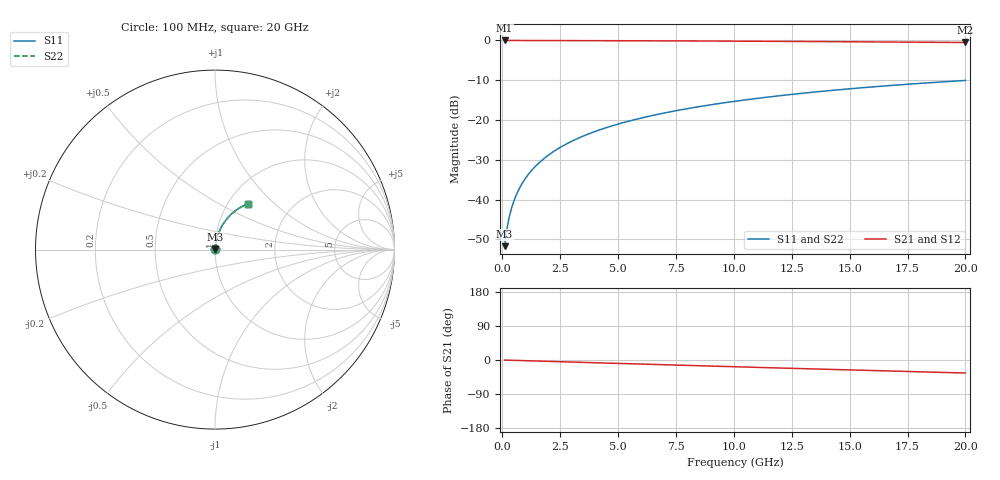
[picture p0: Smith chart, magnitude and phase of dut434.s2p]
! Touchstone file exported from HFSS 2026.1.0
!  File:  C:/ffzhzh/LocalFiles/Ansys_Project_Files/temp_train_TMRDL_434_1783005507_51716.aedt
!  Generated:  11:19:46 PM Jul  2, 2026
!  Design:  TMRDL
!  Project:  temp_train_TMRDL_434_1783005507_51716
! Variables:
!  h_bsmrdl = 2um
!  h_ox = 20um
!  h_rdl = 5um
!  h_sub = 80um
!  h_tmrdl = 4.6um
!  h_tsv = 80um
!  h_via = 3um
!  l_bsmrdl = 300um
!  l_sub = 887.36um
!  l_tmrdl = 487.36um
!  m_sub = 200um
!  pitch = 53.96um
!  r_tsv = 6um
!  s_tmrdl = 10um
!  w_bsmrdl = 18um
!  w_sub = 500um
!  w_tmrdl = 25.26um
!  x_tsv_center1 = 499.99um
!  x_tsv_center2 = 817.99um
!  x_tsv_center3 = 1330.61um
!  x_tsv_center4 = 1648.61um
!  x_tsv_center5 = 2161.23um
!  x_tsv_center6 = 2479.23um
# GHz S MA R 50.000000
! Terminal data exported
! Port[1] = TM_RDL1_1_T1
! Port[2] = TM_RDL1_1_T2
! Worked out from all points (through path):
!   200 points, 100 MHz to 20 GHz, reference 50 ohm
!   highest |S21| = -0.01 dB at 100 MHz (marker M1); lowest = -0.5 dB at 20 GHz (marker M2)
!   group delay of S21, straight-line fit = 4.77 ps
!   lowest |S11| = -51.7 dB at 100 MHz (marker M3), VSWR 1.01, Z = 50.2 + j0.199 ohm
!   |S11| at or under -10 dB: start of sweep to end of sweep
!   |S22| runs from -51.7 to -10.1 dB; largest |S21 - S12| = 4.3e-15
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0.1  0.0026 49.6  0.9983 -0.2  0.9983 -0.2  0.0026 49.6
! Gamma 0 0 0 0
! Port Impedance 50 0 50 0
0.2  0.004297 65.0  0.9982 -0.4  0.9982 -0.4  0.004297 65.0
0.3  0.006067 71.1  0.9981 -0.6  0.9981 -0.6  0.006067 71.1
0.4  0.007835 74.4  0.998 -0.7  0.998 -0.7  0.007835 74.4
0.5  0.009601 76.6  0.9979 -0.9  0.9979 -0.9  0.009601 76.6
0.7  0.01314 79.2  0.9978 -1.3  0.9978 -1.3  0.01314 79.2
0.8  0.01492 80.0  0.9978 -1.5  0.9978 -1.5  0.01492 80.0
1  0.01849 81.0  0.9976 -1.8  0.9976 -1.8  0.01849 81.0
1.2  0.02207 81.7  0.9975 -2.2  0.9975 -2.2  0.02207 81.7
1.4  0.02565 82.0  0.9973 -2.6  0.9973 -2.6  0.02565 82.0
1.7  0.03102 82.2  0.9971 -3.1  0.9971 -3.1  0.03102 82.2
2  0.03638 82.2  0.9968 -3.7  0.9968 -3.7  0.03638 82.2
2.7  0.04884 81.6  0.9959 -4.9  0.9959 -4.9  0.04884 81.6
3.5  0.06293 80.6  0.9947 -6.4  0.9947 -6.4  0.06293 80.6
4.2  0.07512 79.5  0.9935 -7.6  0.9935 -7.6  0.07512 79.5
5  0.08889 78.3  0.9919 -9.0  0.9919 -9.0  0.08889 78.3
6.8  0.1193 75.4  0.9879 -12.2  0.9879 -12.2  0.1193 75.4
8.3  0.1439 73.0  0.984 -14.8  0.984 -14.8  0.1439 73.0
10.1  0.1728 70.0  0.9788 -17.9  0.9788 -17.9  0.1728 70.0
13.4  0.2233 64.7  0.9678 -23.5  0.9678 -23.5  0.2233 64.7
16.7  0.2705 59.4  0.9551 -29.0  0.9551 -29.0  0.2705 59.4
20  0.3138 54.2  0.9414 -34.3  0.9414 -34.3  0.3138 54.2
